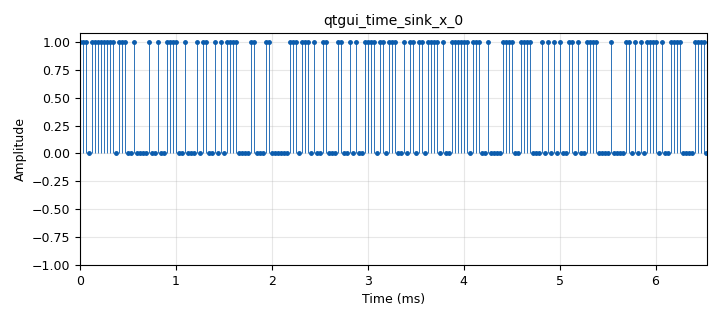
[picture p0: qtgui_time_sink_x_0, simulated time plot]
options:
  parameters:
    author: Steven Knudsen
    description: PDU generation example
    generate_options: qt_gui
    id: pdu
    output_language: python
    title: PDU  Example
  states: {}

blocks:
- name: interval
  id: variable
  parameters:
    value: '0.400'
  states: {}
- name: samp_rate
  id: variable
  parameters:
    value: '32000'
  states: {}
- name: val
  id: variable_qtgui_range
  parameters:
    label: KEY1 Metadata Value
    start: '0'
    step: '0.1'
    stop: '500.0'
    value: '123.4'
  states: {}
- name: blocks_char_to_float_0
  id: blocks_char_to_float
  parameters:
    scale: '1'
  states: {}
- name: blocks_packed_to_unpacked_xx_0
  id: blocks_packed_to_unpacked_xx
  parameters:
    bits_per_chunk: '1'
    endianness: gr.GR_MSB_FIRST
    type: byte
  states: {}
- name: blocks_pdu_filter_0
  id: blocks_pdu_filter
  parameters:
    invert: 'False'
    k: pmt.intern("key")
    v: pmt.intern("value")
  states: {}
- name: blocks_pdu_set_0
  id: blocks_pdu_set
  parameters:
    k: pmt.intern("KEY1")
    v: pmt.from_double(val)
  states: {state: disabled}
- name: blocks_pdu_to_tagged_stream_0
  id: blocks_pdu_to_tagged_stream
  parameters:
    tag: packet_len
    type: byte
  states: {}
- name: blocks_random_pdu_0
  id: blocks_random_pdu
  parameters:
    length_modulo: '2'
    mask: '0xFF'
    maxsize: '10'
    minsize: '10'
  states: {}
- name: msg_dbg_0
  id: blocks_message_debug
  parameters:
    comment: Print out the metadata dictionary.
  states: {}
- name: msg_strobe
  id: blocks_message_strobe
  parameters:
    comment: Emits pmt.PMT_T
    msg: pmt.PMT_T
    period: int(interval*1000)
  states: {}
- name: note_0_0
  id: note
  parameters:
    comment: |-
      This flowgraph highlights a number of useful PDU tools together.
      This flowgraph is not intended to do anything particularly useful
      other than serve as a reference / demonstration.
    note: SUMMARY
  states: {}
- name: qtgui_time_sink_x_0
  id: qtgui_time_sink_x
  parameters:
    marker1: '0'
    size: '210'
    srate: samp_rate
    stemplot: 'True'
    tr_mode: qtgui.TRIG_MODE_TAG
    tr_tag: '"packet_len"'
    type: float
  states: {}
- name: virtual_sink_0
  id: virtual_sink
  parameters:
    stream_id: '122'
  states: {}
- name: virtual_source_0
  id: virtual_source
  parameters:
    stream_id: '122'
  states: {}

connections:
- [blocks_char_to_float_0, '0', qtgui_time_sink_x_0, '0']
- [blocks_packed_to_unpacked_xx_0, '0', blocks_char_to_float_0, '0']
- [blocks_pdu_set_0, pdus, virtual_sink_0, '0']
- [blocks_pdu_to_tagged_stream_0, '0', blocks_packed_to_unpacked_xx_0, '0']
- [blocks_random_pdu_0, pdus, blocks_pdu_set_0, pdus]
- [blocks_random_pdu_0, pdus, virtual_sink_0, '0']
- [msg_strobe, strobe, blocks_random_pdu_0, generate]
- [virtual_source_0, '0', blocks_pdu_to_tagged_stream_0, pdus]
- [virtual_source_0, '0', msg_dbg_0, print_pdu]

metadata:
  file_format: 1
  grc_version: 3.9.7.0
